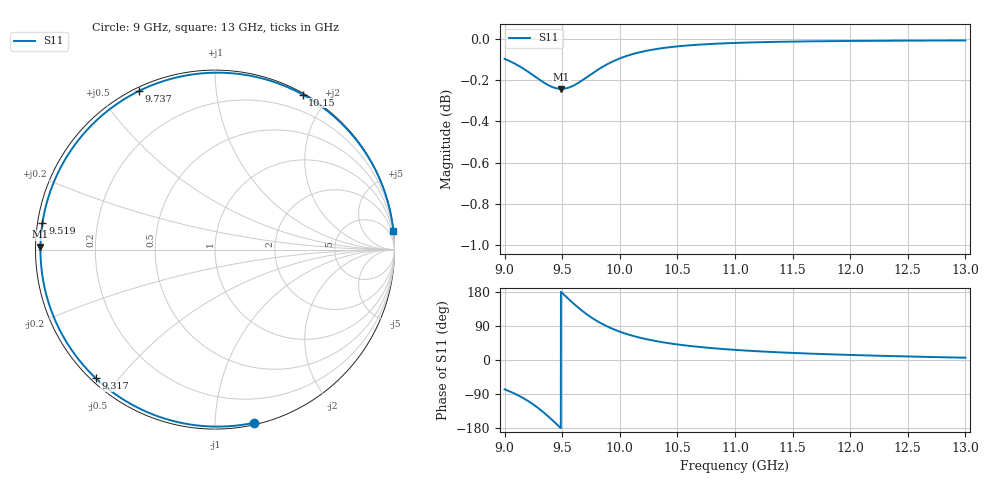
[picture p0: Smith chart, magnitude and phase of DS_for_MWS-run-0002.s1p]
! TOUCHSTONE file generated by CST DESIGN STUDIO
! Date and time: Tue Feb  4 17:21:19 2025
! Project name: C:\Work\MatlabApps\UnitCellOptimizationMatlab\CST\unitcell.cst
! Tree item: Tasks\Sweep1\SPara1\S-Parameters
! Header version: 2024
! Port assignment regex: !\s*Touchstone port\s*([0-9]+)\s*=\s*(CST MWS port|CST DES external port|CST DES block port)\s*(.+)\s* \(\"(.*)\"\)(\s*mode\s*([0-9]+))?.*
! Touchstone port assignment:
! Touchstone port 1 = CST DES external port 1 ("")
# GHz S MA R 50
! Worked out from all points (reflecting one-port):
!   4001 points, 9 GHz to 13 GHz, reference 50 ohm
!   lowest |S11| = -0.2 dB at 9.492 GHz (marker M1), VSWR 71.93, Z = 0.695 + j0.401 ohm
!   phase of S11 starts at -77 deg and turns -277 deg over the sweep
!   S11 on the Smith chart (normalised r, x): 9 GHz: 0.01, -1.25; 9.317 GHz: 0.01, -0.44; 9.519 GHz: 0.01, +0.08; 9.737 GHz: 0.01, +0.63; 10.15 GHz: 0.02, +1.71; 13 GHz: 0, +19
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9  0.9891 -77.4
9.081  0.9867 -87.8
9.181  0.9829 -104.0
9.252  0.9798 -118.0
9.317  0.977 -132.9
9.363  0.9752 -144.6
9.412  0.9736 -158.0
9.453  0.9728 -169.6
9.492  0.9726 179.1
9.5  0.9726 176.8
9.519  0.9727 171.3
9.572  0.9736 156.2
9.632  0.9755 140.1
9.684  0.9777 127.3
9.737  0.98 115.5
9.791  0.9823 104.9
9.85  0.9846 94.8
9.924  0.9872 84.0
10  0.9893 74.8
10.153  0.9924 60.5
10.31  0.9944 50.1
10.5  0.996 41.0
10.722  0.9971 33.5
11  0.9979 26.7
11.5  0.9987 18.7
12  0.999 13.3
12.5  0.9992 9.3
13  0.9993 6.0
